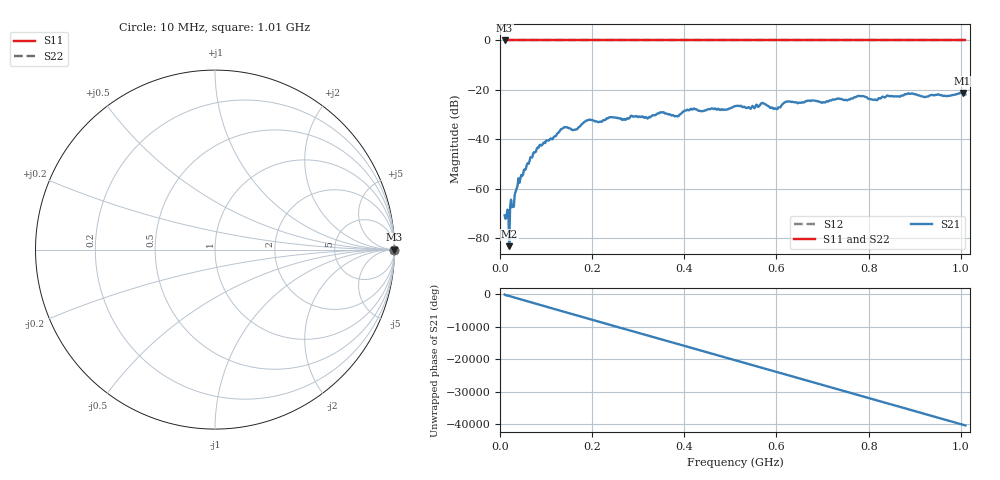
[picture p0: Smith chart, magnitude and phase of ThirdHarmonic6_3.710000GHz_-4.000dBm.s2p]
! 8/17/2025 12:37:44 PM
! C:\ANRITSUVNA\TEMP\TEMP.S2P
! CHANNEL.1
! TR.MEASUREMENT
! RAW.DATA
! RF.CORRECTION.OFF
! AVERAGING.OFF
! IF.BANDWIDTH: 5KHZ
! SWEEPTYPE:  FREQ.SWEEP(Linear)
! Reference Plane Port Info
! PORT:  PORT1  PORT2
! DISTANCE:  0  m  0  m
! TIME:  0  s  0  s
! PHASE.OFFSET:  0  deg.  0  deg.
! LOSS:  0  dB  0  dB
! REF.LOSS:  0  dB  0  dB
! REF.FREQ:  0  Hz  0  Hz
! Power Info
! POWER:  -20  dBm  -20  dBm
! EFF.POWER:  -20  dBm  -20  dBm
! SOURCE.ATTEN:  0  dB  0  dB
! TEST.ATTEN:  0  dB  0  dB
# GHZ S RI R 50.0
! FREQ.GHZ  S11RE  S11IM  S21RE  S21IM  S12RE  S12IM  S22RE  S22IM
!; PortSelection: Port_12
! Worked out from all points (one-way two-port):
!   501 points, 10 MHz to 1.01 GHz, reference 50 ohm
!   highest |S21| = -21.21 dB at 1.004 GHz (marker M1); lowest = -83.2 dB at 20 MHz (marker M2)
!   lowest |S11| = 0.0 dB at 10 MHz (marker M3)
!   |S11| at or under -10 dB: nowhere
!   |S22| runs from 0.0 to 0.0 dB; largest |S21 - S12| = 1.1
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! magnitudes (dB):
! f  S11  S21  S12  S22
! 10 MHz  0.0  -70.8  0.0  0.0
! 14 MHz  0.0  -71.4  0.0  0.0
! 16 MHz  0.0  -68.5  0.0  0.0
! 20 MHz  0.0  -83.2  0.0  0.0
! 24 MHz  0.0  -64.4  0.0  0.0
! 42 MHz  0.0  -57.6  0.0  0.0
! 84 MHz  0.0  -43.4  0.0  0.0
! 136 MHz  0.0  -35.6  0.0  0.0
! 162 MHz  0.0  -36.2  0.0  0.0
! 178 MHz  0.0  -33.8  0.0  0.0
! 192 MHz  0.0  -32.2  0.0  0.0
! 344 MHz  0.0  -29.6  0.0  0.0
! 384 MHz  0.0  -30.6  0.0  0.0
! 418 MHz  0.0  -27.9  0.0  0.0
! 510 MHz  0.0  -26.6  0.0  0.0
! 570 MHz  0.0  -25.3  0.0  0.0
! 598 MHz  0.0  -27.5  0.0  0.0
! 622 MHz  0.0  -24.8  0.0  0.0
! 678 MHz  0.0  -24.3  0.0  0.0
! 844 MHz  0.0  -22.5  0.0  0.0
! 1.004 GHz  0.0  -21.2  0.0  0.0
! 1.01 GHz  0.0  -21.9  0.0  0.0
